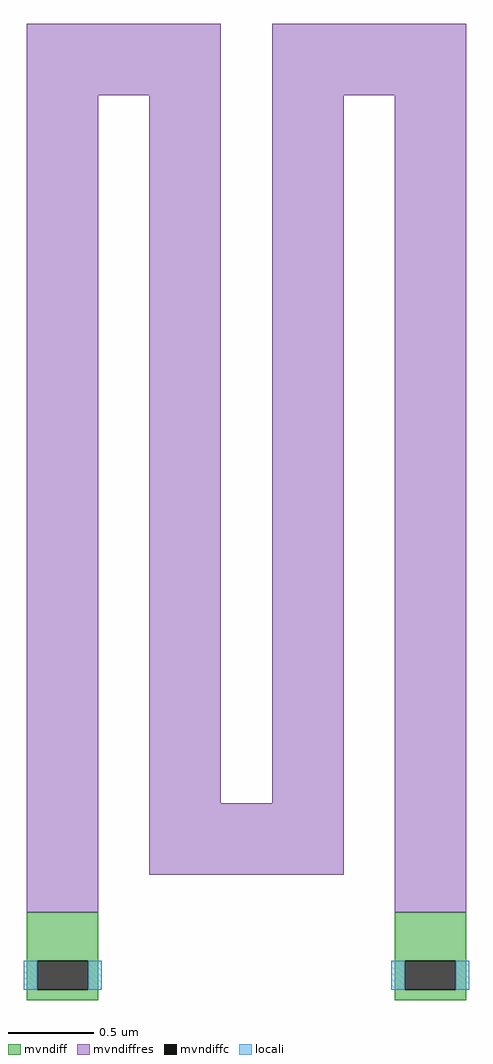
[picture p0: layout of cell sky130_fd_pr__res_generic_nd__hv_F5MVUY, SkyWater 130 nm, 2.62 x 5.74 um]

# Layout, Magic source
magic
tech sky130A
magscale 1 2
<< mvndiff >>
rect -258 -527 -174 -470
rect -258 -561 -246 -527
rect -186 -561 -174 -527
rect -258 -573 -174 -561
rect 174 -527 258 -470
rect 174 -561 186 -527
rect 246 -561 258 -527
rect 174 -573 258 -561
<< mvndiffc >>
rect -246 -561 -186 -527
rect 186 -561 246 -527
<< mvndiffres >>
rect -258 490 -30 574
rect -258 -470 -174 490
rect -114 -342 -30 490
rect 30 490 258 574
rect 30 -342 114 490
rect -114 -426 114 -342
rect 174 -470 258 490
<< locali >>
rect -262 -561 -246 -527
rect -186 -561 -170 -527
rect 170 -561 186 -527
rect 246 -561 262 -527
<< properties >>
string gencell sky130_fd_pr__res_generic_nd__hv
string library sky130
string parameters w 0.42 l 5.0 m 1 nx 4 wmin 0.42 lmin 2.10 rho 120 val 6.72k dummy 0 dw 0.02 term 0.0 sterm 0.0 caplen 0.4 snake 1 guard 0 glc 1 grc 1 gtc 1 gbc 1 roverlap 0 endcov 100 full_metal 1 vias 1 viagb 0 viagt 0 viagl 0 viagr 0
<< end >>
